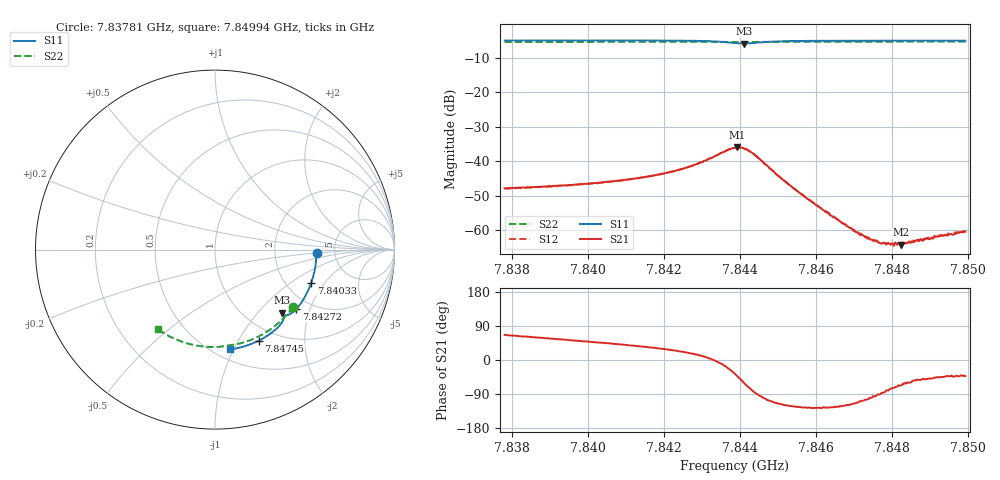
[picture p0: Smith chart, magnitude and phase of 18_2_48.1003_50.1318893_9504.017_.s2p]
#  HZ  S  RI  R  50.00
! Rohde & Schwarz Vector Network Analyzer
! Rohde-Schwarz,ZNB20-2Port,1311601062101988,3.16
! Created: UTC 12/23/2023, 3:36:23 AM
! freq[Hz]  re:S11  im:S11  re:S21  im:S21  re:S12  im:S12  re:S22  im:S22
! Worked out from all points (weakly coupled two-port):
!   401 points, 7.83781 GHz to 7.84994 GHz, reference 50 ohm
!   highest |S21| = -35.91 dB at 7.84394 GHz (marker M1); lowest = -64.3 dB at 7.84824 GHz (marker M2)
!   lowest |S11| = -5.8 dB at 7.84412 GHz (marker M3), VSWR 3.10, Z = 71.4 - j67.9 ohm
!   |S11| at or under -10 dB: nowhere
!   |S22| runs from -5.4 to -5.3 dB; largest |S21 - S12| = 0.00031
!   S11 on the Smith chart (normalised r, x): 7.83781 GHz: 3.60, -0.20; 7.84033 GHz: 2.72, -1.48; 7.84272 GHz: 1.68, -1.62; 7.84745 GHz: 0.82, -1.22; 7.84994 GHz: 0.60, -0.97
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7.837809e9  0.5664 -0.0192  0.00162 0.00373  0.00167 0.00362  0.4362 -0.3182
7.839841e9  0.5461 -0.1531  0.00302 0.00358  0.003 0.00357  0.3388 -0.4215
7.840327e9  0.5363 -0.1844  0.00342 0.0035  0.00338 0.00349  0.3117 -0.4422
7.841873e9  0.4908 -0.2807  0.00553 0.00327  0.00549 0.00327  0.2173 -0.496
7.842722e9  0.4534 -0.3309  0.00814 0.00254  0.0081 0.00256  0.1614 -0.5169
7.84342e9  0.4073 -0.3637  0.0123 -0.00119  0.0123 -0.000951  0.1136 -0.5285
7.843875e9  0.3737 -0.3603  0.0126 -0.00931  0.0125 -0.00932  0.0833 -0.5325
7.843936e9  0.3718 -0.3576  0.0117 -0.0109  0.0118 -0.0107  0.0793 -0.5331
7.844118e9  0.3728 -0.3509  0.00742 -0.0133  0.00747 -0.0134  0.0682 -0.5346
7.84436e9  0.382 -0.3549  0.00149 -0.0129  0.00162 -0.0128  0.0527 -0.5375
7.845118e9  0.3719 -0.4073  -0.00253 -0.00487  -0.00254 -0.00491  -0.000167 -0.5427
7.845907e9  0.3328 -0.4499  -0.00153 -0.00204  -0.0015 -0.00208  -0.056 -0.5409
7.846938e9  0.2739 -0.4911  -0.000471 -0.000957  -0.000477 -0.000944  -0.1276 -0.5292
7.84712e9  0.2632 -0.4972  -0.000338 -0.00083  -0.000335 -0.000843  -0.1401 -0.5262
7.847454e9  0.243 -0.5077  -0.000123 -0.000717  -0.000126 -0.000739  -0.1626 -0.5201
7.847727e9  0.2262 -0.5154  2.98e-05 -0.000636  1.37e-05 -0.000662  -0.1809 -0.5139
7.847939e9  0.2131 -0.5211  0.000134 -0.000616  0.000129 -0.000633  -0.195 -0.509
7.84809e9  0.2038 -0.5249  0.000203 -0.000631  0.00017 -0.00059  -0.2048 -0.5051
7.848242e9  0.1941 -0.5286  0.000241 -0.000563  0.000294 -0.000627  -0.2148 -0.5012
7.848363e9  0.1865 -0.5312  0.000331 -0.000561  0.000294 -0.000576  -0.2225 -0.4978
7.849364e9  0.1221 -0.5497  0.000584 -0.000582  0.000617 -0.000557  -0.2848 -0.4655
7.84994e9  0.0843 -0.5563  0.000698 -0.000641  0.000721 -0.000642  -0.3186 -0.4434
